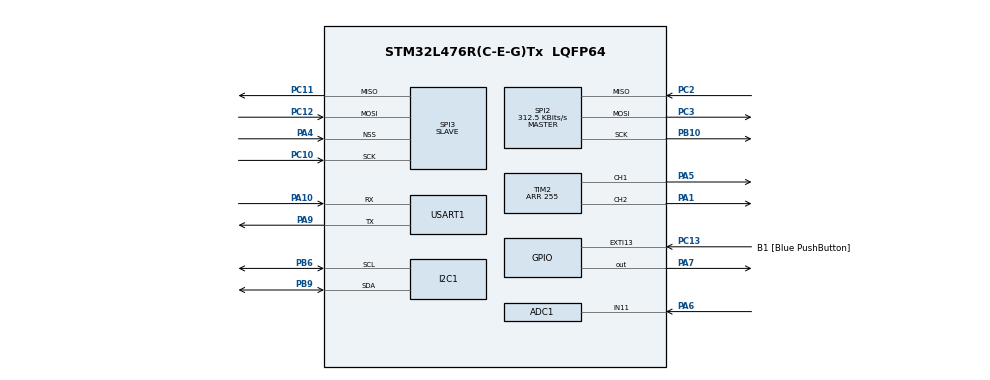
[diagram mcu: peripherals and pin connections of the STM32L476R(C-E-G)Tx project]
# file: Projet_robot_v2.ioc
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ADC1.Channel-2\#ChannelRegularConversion=ADC_CHANNEL_11
ADC1.NbrOfConversionFlag=1
ADC1.OffsetNumber-2\#ChannelRegularConversion=ADC_OFFSET_NONE
ADC1.Rank-2\#ChannelRegularConversion=1
ADC1.SamplingTime-2\#ChannelRegularConversion=ADC_SAMPLETIME_2CYCLES_5
ADC1.master=1
I2C1.Timing=0x10909CEC
Mcu.Family=STM32L4
Mcu.Name=STM32L476R(C-E-G)Tx
Mcu.Package=LQFP64
NVIC.PriorityGroup=NVIC_PRIORITYGROUP_4
NVIC.SPI2_IRQn=true\:0\:0\:false\:false\:true\:true\:true\:true
NVIC.SPI3_IRQn=true\:0\:0\:false\:false\:true\:true\:true\:true
PA1.Signal=S_TIM2_CH2
PA10.Mode=Asynchronous
PA10.Signal=USART1_RX
PA13\ (JTMS-SWDIO).GPIO_Label=TMS
PA13\ (JTMS-SWDIO).Mode=Serial_Wire
PA13\ (JTMS-SWDIO).Signal=SYS_JTMS-SWDIO
PA14\ (JTCK-SWCLK).GPIO_Label=TCK
PA14\ (JTCK-SWCLK).Mode=Serial_Wire
PA14\ (JTCK-SWCLK).Signal=SYS_JTCK-SWCLK
PA4.Mode=NSS_Signal_Hard_Input
PA4.Signal=SPI3_NSS
PA5.Signal=S_TIM2_CH1
PA6.Signal=ADCx_IN11
PA7.Signal=GPIO_Output
PA9.Mode=Asynchronous
PA9.Signal=USART1_TX
PB10.Mode=Full_Duplex_Master
PB10.Signal=SPI2_SCK
PB3\ (JTDO-TRACESWO).GPIO_Label=SWO
PB3\ (JTDO-TRACESWO).Signal=SYS_JTDO-SWO
PB6.Mode=I2C
PB6.Signal=I2C1_SCL
PB9.Mode=I2C
PB9.Signal=I2C1_SDA
PC10.Mode=Full_Duplex_Slave
PC10.Signal=SPI3_SCK
PC11.Mode=Full_Duplex_Slave
PC11.Signal=SPI3_MISO
PC12.Mode=Full_Duplex_Slave
PC12.Signal=SPI3_MOSI
PC13.GPIO_Label=B1 [Blue PushButton]
PC13.GPIO_ModeDefaultEXTI=GPIO_MODE_IT_FALLING
PC13.GPIO_PuPd=GPIO_NOPULL
PC13.Signal=GPXTI13
PC14-OSC32_IN\ (PC14).Mode=LSE-External-Oscillator
PC14-OSC32_IN\ (PC14).Signal=RCC_OSC32_IN
PC15-OSC32_OUT\ (PC15).Mode=LSE-External-Oscillator
PC15-OSC32_OUT\ (PC15).Signal=RCC_OSC32_OUT
PC2.Mode=Full_Duplex_Master
PC2.Signal=SPI2_MISO
PC3.Mode=Full_Duplex_Master
PC3.Signal=SPI2_MOSI
PH0-OSC_IN\ (PH0).Signal=RCC_OSC_IN
PH1-OSC_OUT\ (PH1).Signal=RCC_OSC_OUT
ProjectManager.HeapSize=0x200
ProjectManager.StackSize=0x400
ProjectManager.TargetToolchain=STM32CubeIDE
RCC.ADCFreq_Value=64000000
RCC.AHBFreq_Value=80000000
RCC.APB1Freq_Value=80000000
RCC.APB1TimFreq_Value=80000000
RCC.APB2Freq_Value=80000000
RCC.APB2TimFreq_Value=80000000
RCC.CortexFreq_Value=80000000
RCC.HCLKFreq_Value=80000000
RCC.HSE_VALUE=8000000
RCC.HSI_VALUE=16000000
RCC.MSI_VALUE=4000000
RCC.PLLN=10
RCC.PLLSourceVirtual=RCC_PLLSOURCE_HSI
RCC.PREFETCH_ENABLE=1
RCC.SYSCLKFreq_VALUE=80000000
RCC.SYSCLKSource=RCC_SYSCLKSOURCE_PLLCLK
RCC.USBFreq_Value=64000000
RCC.VCOOutputFreq_Value=160000000
SH.ADCx_IN11.0=ADC1_IN11,IN11-Single-Ended
SH.S_TIM2_CH1.0=TIM2_CH1,PWM Generation1 CH1
SH.S_TIM2_CH2.0=TIM2_CH2,PWM Generation2 CH2
SPI2.BaudRatePrescaler=SPI_BAUDRATEPRESCALER_256
SPI2.CalculateBaudRate=312.5 KBits/s
SPI2.DataSize=SPI_DATASIZE_8BIT
SPI2.Direction=SPI_DIRECTION_2LINES
SPI2.Mode=SPI_MODE_MASTER
SPI2.VirtualType=VM_MASTER
SPI3.DataSize=SPI_DATASIZE_8BIT
SPI3.Direction=SPI_DIRECTION_2LINES
SPI3.Mode=SPI_MODE_SLAVE
SPI3.VirtualNSS=VM_NSSHARD
SPI3.VirtualType=VM_SLAVE
TIM2.Channel-PWM\ Generation1\ CH1=TIM_CHANNEL_1
TIM2.Channel-PWM\ Generation2\ CH2=TIM_CHANNEL_2
TIM2.Period=255
USART1.VirtualMode-Asynchronous=VM_ASYNC
board=NUCLEO-L476RG

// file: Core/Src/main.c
/* USER CODE BEGIN Header */
/**
  ******************************************************************************
  * @file           : main.c
  * @brief          : Main program body
  ******************************************************************************
  * @attention
  *
  * Copyright (c) 2024 STMicroelectronics.
  * All rights reserved.
  *
  * This software is licensed under terms that can be found in the LICENSE file
  * in the root directory of this software component.
  * If no LICENSE file comes with this software, it is provided AS-IS.
  *
  ******************************************************************************
  */
/* USER CODE END Header */
#include "main.h"
#include "adc.h"
#include "i2c.h"
#include "spi.h"
#include "tim.h"
#include "usart.h"
#include "gpio.h"
#include "vl53l0x_api.h"
#include "vl53l0x_platform.h" // Ajout de l'en-tête vl53l0x_platform.h
#include <stdint.h>

VL53L0X_Dev_t tof_sensor; // ToF sensor device structure
VL53L0X_RangingMeasurementData_t RangingData; // Ranging data

void SystemClock_Config(void);
/* USER CODE BEGIN PFP */
void setMotorSpeed(int speed1, int speed2);
void initToF(void);
void readToF(void);
/* USER CODE END PFP */

/* USER CODE BEGIN 0 */
void setMotorSpeed(int speed1, int speed2) {
    // Configuration du sens du Moteur 1
    if (speed1 > 0) {
        HAL_GPIO_WritePin(GPIOB, GPIO_PIN_0, GPIO_PIN_SET);
        HAL_GPIO_WritePin(GPIOB, GPIO_PIN_1, GPIO_PIN_RESET);
    } else {
        HAL_GPIO_WritePin(GPIOB, GPIO_PIN_0, GPIO_PIN_RESET);
        HAL_GPIO_WritePin(GPIOB, GPIO_PIN_1, GPIO_PIN_SET);
    }
    __HAL_TIM_SET_COMPARE(&htim2, TIM_CHANNEL_1, abs(speed1));

    // Configuration du sens du Moteur 2
    if (speed2 > 0) {
        HAL_GPIO_WritePin(GPIOB, GPIO_PIN_2, GPIO_PIN_SET);
        HAL_GPIO_WritePin(GPIOB, GPIO_PIN_3, GPIO_PIN_RESET);
    } else {
        HAL_GPIO_WritePin(GPIOB, GPIO_PIN_2, GPIO_PIN_RESET);
        HAL_GPIO_WritePin(GPIOB, GPIO_PIN_3, GPIO_PIN_SET);
    }
    __HAL_TIM_SET_COMPARE(&htim2, TIM_CHANNEL_2, abs(speed2));
}

void initToF(void) {
    tof_sensor.i2cHandle = &hi2c1; // I2C handle
    tof_sensor.I2cDevAddr = 0x52; // I2C address of VL53L0X
    tof_sensor.comms_type = 1; // I2C communication
    tof_sensor.comms_speed_khz = 400; // I2C speed 400 kHz

    VL53L0X_Init(&tof_sensor);
    VL53L0X_StaticInit(&tof_sensor);
    VL53L0X_PerformRefCalibration(&tof_sensor, &VhvSettings, &PhaseCal);
    VL53L0X_PerformRefSpadManagement(&tof_sensor, &refSpadCount, &isApertureSpads);
    VL53L0X_SetDeviceMode(&tof_sensor, VL53L0X_DEVICEMODE_CONTINUOUS_RANGING);
    VL53L0X_StartMeasurement(&tof_sensor);
}

void readToF(void) {
    VL53L0X_GetRangingMeasurementData(&tof_sensor, &RangingData);
    VL53L0X_ClearInterruptMask(&tof_sensor, VL53L0X_INTERRUPT_MASK);
    printf("Distance: %d mm\n", RangingData.RangeMilliMeter);
}
/* USER CODE END 0 */

int main(void)
{
  /* USER CODE BEGIN 1 */
  // Initialisation du système et des périphériques
  // Configuration des GPIO, I2C, SPI, TIM, USART, etc.
  // Mise en place du capteur de distance et des moteurs
  /* USER CODE END 1 */

  /* MCU Configuration--------------------------------------------------------*/

  /* Reset of all peripherals, Initializes the Flash interface and the Systick. */
  HAL_Init();

  /* Configure the system clock */
  SystemClock_Config();

  /* Initialize all configured peripherals */
  MX_GPIO_Init();
  MX_ADC1_Init();
  MX_I2C1_Init();
  MX_SPI2_Init();
  MX_SPI3_Init();
  MX_TIM2_Init();
  MX_USART1_UART_Init();
  /* USER CODE BEGIN 2 */
  // Initialisation du capteur de distance TOF (VL53L0X)
  initToF(); //
  /* USER CODE END 2 */

  /* Infinite loop */
  while (1)
  {

    /* USER CODE BEGIN 3 */
    // Lecture de la distance mesurée par le capteur TOF
    readToF(); //
    HAL_Delay(1000);
  }
  /* USER CODE END 3 */
}
